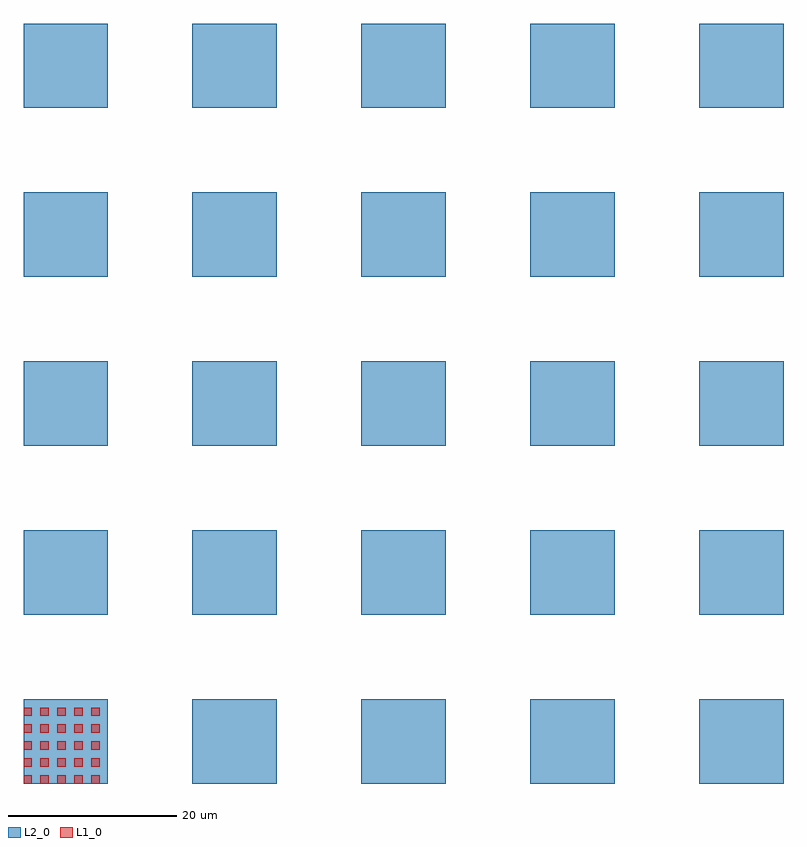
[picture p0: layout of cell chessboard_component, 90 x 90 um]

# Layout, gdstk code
import gdstk
lib = gdstk.Library(unit=1e-6, precision=1e-09)
def R(c, l, rs):  # rectangles x0, y0, x1, y1
    for r in rs: c.add(gdstk.rectangle(r[:2], r[2:], *l))
L1_0 = (1, 0)
L2_0 = (2, 0)

rectangle_s1_1_l1_0_cfa_ = lib.new_cell('rectangle_S1_1_L1_0_CFa_387ede11')
R(rectangle_s1_1_l1_0_cfa_, L1_0, [(0,0,1,1)])

array_crectangle_s1_1_l_ = lib.new_cell('array_Crectangle_S1_1_L_cfa9b59d')
r = gdstk.Reference(rectangle_s1_1_l1_0_cfa_, (0,0)); r.repetition = gdstk.Repetition(5, 5, v1=(2,0), v2=(0,2)); array_crectangle_s1_1_l_.add(r)

rectangle_s10_10_l2_0_c_ = lib.new_cell('rectangle_S10_10_L2_0_C_d54fc458')
R(rectangle_s10_10_l2_0_c_, L2_0, [(0,0,10,10)])

array_crectangle_s10_10_ = lib.new_cell('array_Crectangle_S10_10_fcdadfad')
r = gdstk.Reference(rectangle_s10_10_l2_0_c_, (0,0)); r.repetition = gdstk.Repetition(5, 5, v1=(20,0), v2=(0,20)); array_crectangle_s10_10_.add(r)

chessboard_component = lib.new_cell('chessboard_component')
chessboard_component.add(gdstk.Reference(array_crectangle_s1_1_l_, (0,0)))
chessboard_component.add(gdstk.Reference(array_crectangle_s10_10_, (0,0)))

lib.write_gds('chessboard_component.gds')
